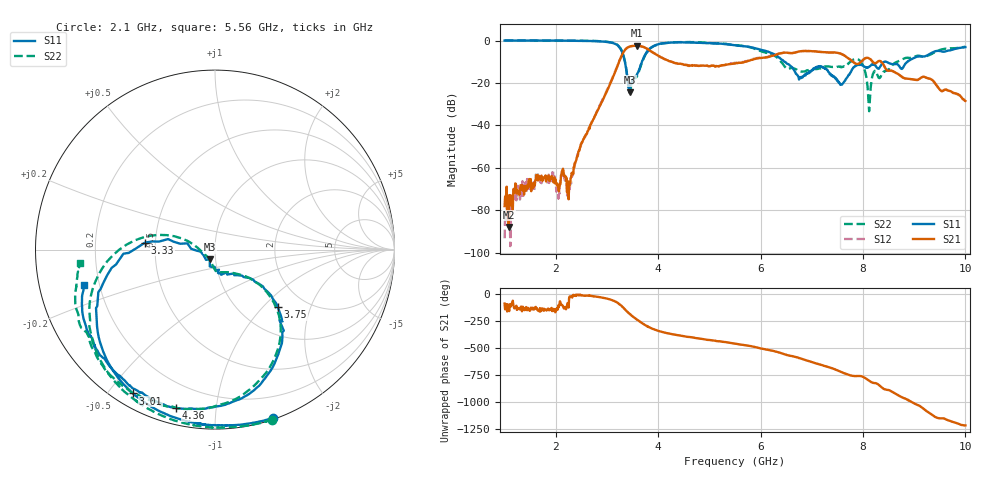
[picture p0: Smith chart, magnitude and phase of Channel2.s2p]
!Agilent Technologies,N5227A,US51270477,A.10.00.00
!File generated by LCAF-GAM-UPV software
!josevmart@iteam.upv.es
!S2P File: Measurements: S11, S21, S12, S22:
# Hz S  dB  R 50
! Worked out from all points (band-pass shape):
!   901 points, 1 GHz to 10 GHz, reference 50 ohm
!   highest |S21| = -2.44 dB at 3.58 GHz (marker M1); lowest = -87.8 dB at 1.08 GHz (marker M2)
!   |S21| within 3 dB of the highest: 3.323 GHz to 3.881 GHz (557.8 MHz wide, 15.5 % of centre); 6.71 GHz to 7.217 GHz (507.6 MHz wide, 7.29 % of centre)
!   lowest |S11| = -24.4 dB at 3.45 GHz (marker M3), VSWR 1.13, Z = 47 - j5.02 ohm
!   |S11| at or under -10 dB: 3.35 GHz to 3.682 GHz (333 MHz wide, 9.47 % of centre); 6.469 GHz to 8.416 GHz (1.947 GHz wide, 26.2 % of centre); 8.455 GHz to 8.869 GHz (414.2 MHz wide, 4.78 % of centre)
!   |S22| runs from -33.3 to 0.0 dB; largest |S21 - S12| = 0.044
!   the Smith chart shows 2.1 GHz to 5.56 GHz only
!   S11 on the Smith chart (normalised r, x): 2.1 GHz: 0.01, -1.40; 3.01 GHz: 0.05, -0.58; 3.33 GHz: 0.44, +0.04; 3.75 GHz: 1.48, -1.22; 4.36 GHz: 0.08, -0.78; 5.56 GHz: 0.14, -0.13
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1e9  -0.01 -32.9  -77.95 -92.1  -93.10 -140.6  0.01 -32.9
1.08e9  -0.00 -35.6  -87.80 -135.0  -75.23 -130.8  0.01 -35.8
2.1e9  -0.07 -71.1  -64.02 -101.4  -63.38 -88.5  0.00 -71.5
2.26e9  -0.10 -77.7  -68.84 -40.3  -71.42 -30.8  -0.02 -78.3
2.5e9  -0.18 -88.7  -48.53 -16.0  -48.25 -16.7  -0.08 -89.4
3.01e9  -0.70 -119.7  -23.23 -47.8  -22.92 -49.3  -0.59 -123.7
3.33e9  -8.12 174.3  -5.14 -136.2  -5.18 -134.7  -7.73 170.7
3.45e9  -24.40 -118.0  -2.80 168.6  -2.80 170.1  -23.86 -120.8
3.58e9  -16.20 -64.0  -2.44 122.6  -2.44 122.5  -17.03 -63.3
3.75e9  -6.48 -42.5  -3.44 68.6  -3.40 69.2  -6.68 -43.2
4e9  -1.74 -75.5  -7.17 16.9  -7.14 17.3  -1.85 -76.9
4.36e9  -0.83 -103.8  -10.70 -21.3  -10.64 -21.3  -0.84 -105.9
5.5e9  -2.27 -162.4  -10.81 -100.9  -10.57 -103.1  -2.15 -169.0
5.56e9  -2.46 -164.9  -10.60 -105.3  -10.08 -109.4  -2.45 -174.4
6.43e9  -9.20 141.3  -5.82 168.3  -5.81 167.3  -10.92 132.6
7e9  -14.31 178.3  -5.01 89.3  -4.98 90.6  -13.43 166.2
7.57e9  -20.81 159.2  -6.28 -0.6  -6.25 -0.0  -12.29 147.7
7.9e9  -11.35 151.9  -11.05 -38.1  -11.01 -37.6  -8.82 96.8
8.12e9  -12.40 122.1  -8.42 -82.6  -8.51 -82.3  -33.27 94.3
8.22e9  -11.35 100.7  -10.66 -103.8  -10.74 -103.7  -14.80 109.1
8.5e9  -10.57 63.3  -14.23 -168.1  -14.28 -167.1  -13.64 95.0
1e10  -3.11 -48.8  -28.45 -133.8  -28.54 -135.0  -2.90 -58.5
